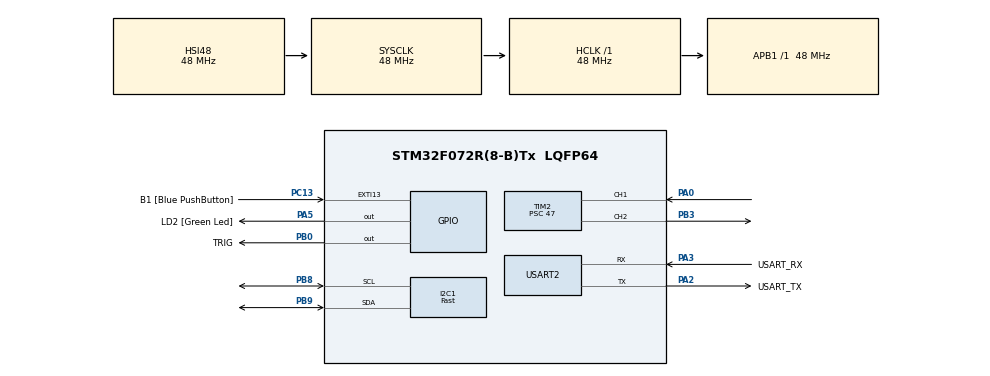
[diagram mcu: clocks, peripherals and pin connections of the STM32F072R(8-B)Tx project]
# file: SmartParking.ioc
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I2C1.I2C_Speed_Mode=I2C_Fast
I2C1.Timing=0x0010020A
Mcu.Family=STM32F0
Mcu.Name=STM32F072R(8-B)Tx
Mcu.Package=LQFP64
PA0.Signal=S_TIM2_CH1_ETR
PA13.GPIO_Label=TMS
PA13.Mode=Serial_Wire
PA13.Signal=SYS_SWDIO
PA14.GPIO_Label=TCK
PA14.Mode=Serial_Wire
PA14.Signal=SYS_SWCLK
PA2.GPIO_Label=USART_TX
PA2.GPIO_Mode=GPIO_MODE_AF_PP
PA2.GPIO_PuPd=GPIO_NOPULL
PA2.GPIO_Speed=GPIO_SPEED_FREQ_LOW
PA2.Mode=Asynchronous
PA2.Signal=USART2_TX
PA3.GPIO_Label=USART_RX
PA3.GPIO_Mode=GPIO_MODE_AF_PP
PA3.GPIO_PuPd=GPIO_NOPULL
PA3.GPIO_Speed=GPIO_SPEED_FREQ_LOW
PA3.Mode=Asynchronous
PA3.Signal=USART2_RX
PA5.GPIO_Label=LD2 [Green Led]
PA5.GPIO_Mode=GPIO_MODE_OUTPUT_PP
PA5.GPIO_PuPd=GPIO_NOPULL
PA5.GPIO_Speed=GPIO_SPEED_FREQ_LOW
PA5.Signal=GPIO_Output
PB0.GPIO_Label=TRIG
PB0.Signal=GPIO_Output
PB3.Signal=S_TIM2_CH2
PB8.GPIO_Pu=GPIO_PULLUP
PB8.Mode=I2C
PB8.Signal=I2C1_SCL
PB9.GPIO_Pu=GPIO_PULLUP
PB9.Mode=I2C
PB9.Signal=I2C1_SDA
PC13.GPIO_Label=B1 [Blue PushButton]
PC13.GPIO_ModeDefaultEXTI=GPIO_MODE_IT_FALLING
PC13.Signal=GPXTI13
PC14-OSC32_IN.Mode=LSE-External-Oscillator
PC14-OSC32_IN.Signal=RCC_OSC32_IN
PC15-OSC32_OUT.Mode=LSE-External-Oscillator
PC15-OSC32_OUT.Signal=RCC_OSC32_OUT
PF0-OSC_IN.Mode=HSE-External-Clock-Source
PF0-OSC_IN.Signal=RCC_OSC_IN
PF1-OSC_OUT.Signal=RCC_OSC_OUT
ProjectManager.HeapSize=0x200
ProjectManager.StackSize=0x400
ProjectManager.TargetToolchain=STM32CubeIDE
RCC.AHBFreq_Value=48000000
RCC.APB1Freq_Value=48000000
RCC.APB1TimFreq_Value=48000000
RCC.FLatency-AdvancedSettings=FLASH_LATENCY_1
RCC.HCLKFreq_Value=48000000
RCC.PLLDivider=RCC_PREDIV_DIV2
RCC.PLLMUL=RCC_PLL_MUL12
RCC.PREFETCH_ENABLE-AdvancedSettings=1
RCC.SYSCLKFreq_VALUE=48000000
RCC.SYSCLKSource=RCC_SYSCLKSOURCE_HSI48
SH.S_TIM2_CH1_ETR.0=TIM2_CH1,Input_Capture1_from_TI1
SH.S_TIM2_CH2.0=TIM2_CH2,PWM Generation2 CH2
TIM2.Channel-Input_Capture1_from_TI1=TIM_CHANNEL_1
TIM2.Channel-PWM\ Generation2\ CH2=TIM_CHANNEL_2
TIM2.Period=19999
TIM2.Prescaler=47
TIM2.Pulse-PWM\ Generation2\ CH2=1000
USART2.VirtualMode=VM_ASYNC
USART2.VirtualMode-Asynchronous=VM_ASYNC
VP_TIM2_VS_ClockSourceINT.Mode=Internal
board=NUCLEO-F072RB

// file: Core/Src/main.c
/* USER CODE BEGIN Header */
/**
  ******************************************************************************
  * @file           : main.c
  * @brief          : Main program body
  ******************************************************************************
  * @attention
  *
  * Copyright (c) 2026 STMicroelectronics.
  * All rights reserved.
  *
  * This software is licensed under terms that can be found in the LICENSE file
  * in the root directory of this software component.
  * If no LICENSE file comes with this software, it is provided AS-IS.
  *
  ******************************************************************************
  */
/* USER CODE END Header */
#include "main.h"

/* USER CODE BEGIN Includes */
#include "ssd1306.h"
#include "fonts.h"
#include "barrier.h"
#include "ultrasonic.h"
#include <stdio.h>
#include "display.h"
#include "virtual_clock.h"
#include "parking_manager.h"

/* USER CODE END Includes */

I2C_HandleTypeDef hi2c1;

TIM_HandleTypeDef htim2;

UART_HandleTypeDef huart2;

/* USER CODE BEGIN PV */
Ultrasonic_t hultrasonic;
uint32_t clear_time = 0;
/* USER CODE END PV */

void SystemClock_Config(void);
static void MX_GPIO_Init(void);
static void MX_I2C1_Init(void);
static void MX_USART2_UART_Init(void);
static void MX_TIM2_Init(void);

/* USER CODE BEGIN 0 */
static uint32_t clear_zone_start_time = 0;
static ParkingReceipt_t display_receipt = {0};
static uint8_t next_exit_slot = 1U;
static uint32_t last_btn_press_ms = 0;

/* USER CODE END 0 */

int main(void)
{

  /* MCU Configuration--------------------------------------------------------*/

  /* Reset of all peripherals, Initializes the Flash interface and the Systick. */
  HAL_Init();

  /* Configure the system clock */
  SystemClock_Config();

  /* Initialize all configured peripherals */
  MX_GPIO_Init();
  MX_I2C1_Init();
  MX_USART2_UART_Init();
  MX_TIM2_Init();
  /* USER CODE BEGIN 2 */
 Barrier_Init(&htim2, TIM_CHANNEL_2);
 Ultrasonic_Init(&hultrasonic, &htim2, GPIOB, GPIO_PIN_0, GPIOA, GPIO_PIN_0);
 Display_Init();
 VClock_Init(21, 45);
 Parking_Init();

  /* USER CODE END 2 */

  /* Infinite loop */
  /* USER CODE BEGIN WHILE */
 while (1)
 {
	 VClock_Update();
	     Barrier_Update();
	     Ultrasonic_Update(&hultrasonic);

	     VirtualClock_t now_clock = VClock_GetTime();
	     uint32_t dist = Ultrasonic_GetDistance(&hultrasonic);

	     if (dist > 0 && dist < 15) {
	         clear_zone_start_time = 0;
	         if (Barrier_IsClosed()) {
	             Barrier_StartOpening();
	         }
	     }
	     else {
	         if (!Barrier_IsClosed()) {
	             if (clear_zone_start_time == 0) {
	                 clear_zone_start_time = HAL_GetTick();
	             }
	             else if (HAL_GetTick() - clear_zone_start_time >= 2000) {
	                 Barrier_StartClosing();
	                 clear_zone_start_time = 0;
	             }
	         } else {
	             clear_zone_start_time = 0;
	         }
	     }

	     if (HAL_GPIO_ReadPin(B1_GPIO_Port, B1_Pin) == GPIO_PIN_RESET) {
	         if (HAL_GetTick() - last_btn_press_ms > 300) {
	             last_btn_press_ms = HAL_GetTick();

	             if (!Parking_IsFull()) {
	                 uint32_t new_id = 0;
	                 Parking_VehicleEnter(now_clock.total_minutes, &new_id);
	             } else {

	                 Parking_VehicleExit(next_exit_slot, now_clock.total_minutes, &display_receipt);
	                 next_exit_slot++;
	                 if (next_exit_slot > PARKING_TOTAL_SLOTS) {
	                     next_exit_slot = 1U;
	                 }
	             }
	         }
	     }

	     const ParkingSlot_t *preview_slot = Parking_GetSlotInfo(next_exit_slot);
	     if (preview_slot != NULL && preview_slot->is_occupied) {
	         display_receipt = Parking_CalculateFee(next_exit_slot, now_clock.total_minutes);
	     }

	     Display_Update(dist,
	                    Barrier_IsClosed(),
	                    now_clock,
	                    Parking_GetFreeSlotsCount(),
	                    PARKING_TOTAL_SLOTS,
	                    &display_receipt);

     HAL_Delay(10);
 }

    /* USER CODE END WHILE */

}

void SystemClock_Config(void)
{
  RCC_OscInitTypeDef RCC_OscInitStruct = {0};
  RCC_ClkInitTypeDef RCC_ClkInitStruct = {0};
  RCC_PeriphCLKInitTypeDef PeriphClkInit = {0};

  /** Initializes the RCC Oscillators according to the specified parameters
  * in the RCC_OscInitTypeDef structure.
  */
  RCC_OscInitStruct.OscillatorType = RCC_OSCILLATORTYPE_HSI|RCC_OSCILLATORTYPE_HSI48;
  RCC_OscInitStruct.HSIState = RCC_HSI_ON;
  RCC_OscInitStruct.HSI48State = RCC_HSI48_ON;
  RCC_OscInitStruct.HSICalibrationValue = RCC_HSICALIBRATION_DEFAULT;
  RCC_OscInitStruct.PLL.PLLState = RCC_PLL_NONE;
  if (HAL_RCC_OscConfig(&RCC_OscInitStruct) != HAL_OK)
  {
    Error_Handler();
  }

  /** Initializes the CPU, AHB and APB buses clocks
  */
  RCC_ClkInitStruct.ClockType = RCC_CLOCKTYPE_HCLK|RCC_CLOCKTYPE_SYSCLK
                              |RCC_CLOCKTYPE_PCLK1;
  RCC_ClkInitStruct.SYSCLKSource = RCC_SYSCLKSOURCE_HSI48;
  RCC_ClkInitStruct.AHBCLKDivider = RCC_SYSCLK_DIV1;
  RCC_ClkInitStruct.APB1CLKDivider = RCC_HCLK_DIV1;

  if (HAL_RCC_ClockConfig(&RCC_ClkInitStruct, FLASH_LATENCY_1) != HAL_OK)
  {
    Error_Handler();
  }
  PeriphClkInit.PeriphClockSelection = RCC_PERIPHCLK_USART2|RCC_PERIPHCLK_I2C1;
  PeriphClkInit.Usart2ClockSelection = RCC_USART2CLKSOURCE_PCLK1;
  PeriphClkInit.I2c1ClockSelection = RCC_I2C1CLKSOURCE_HSI;
  if (HAL_RCCEx_PeriphCLKConfig(&PeriphClkInit) != HAL_OK)
  {
    Error_Handler();
  }
}

static void MX_I2C1_Init(void)
{

  hi2c1.Instance = I2C1;
  hi2c1.Init.Timing = 0x0010020A;
  hi2c1.Init.OwnAddress1 = 0;
  hi2c1.Init.AddressingMode = I2C_ADDRESSINGMODE_7BIT;
  hi2c1.Init.DualAddressMode = I2C_DUALADDRESS_DISABLE;
  hi2c1.Init.OwnAddress2 = 0;
  hi2c1.Init.OwnAddress2Masks = I2C_OA2_NOMASK;
  hi2c1.Init.GeneralCallMode = I2C_GENERALCALL_DISABLE;
  hi2c1.Init.NoStretchMode = I2C_NOSTRETCH_DISABLE;
  if (HAL_I2C_Init(&hi2c1) != HAL_OK)
  {
    Error_Handler();
  }

  /** Configure Analogue filter
  */
  if (HAL_I2CEx_ConfigAnalogFilter(&hi2c1, I2C_ANALOGFILTER_ENABLE) != HAL_OK)
  {
    Error_Handler();
  }

  /** Configure Digital filter
  */
  if (HAL_I2CEx_ConfigDigitalFilter(&hi2c1, 0) != HAL_OK)
  {
    Error_Handler();
  }

}

static void MX_TIM2_Init(void)
{

  TIM_ClockConfigTypeDef sClockSourceConfig = {0};
  TIM_MasterConfigTypeDef sMasterConfig = {0};
  TIM_IC_InitTypeDef sConfigIC = {0};
  TIM_OC_InitTypeDef sConfigOC = {0};

  htim2.Instance = TIM2;
  htim2.Init.Prescaler = 47;
  htim2.Init.CounterMode = TIM_COUNTERMODE_UP;
  htim2.Init.Period = 19999;
  htim2.Init.ClockDivision = TIM_CLOCKDIVISION_DIV1;
  htim2.Init.AutoReloadPreload = TIM_AUTORELOAD_PRELOAD_DISABLE;
  if (HAL_TIM_Base_Init(&htim2) != HAL_OK)
  {
    Error_Handler();
  }
  sClockSourceConfig.ClockSource = TIM_CLOCKSOURCE_INTERNAL;
  if (HAL_TIM_ConfigClockSource(&htim2, &sClockSourceConfig) != HAL_OK)
  {
    Error_Handler();
  }
  if (HAL_TIM_IC_Init(&htim2) != HAL_OK)
  {
    Error_Handler();
  }
  if (HAL_TIM_PWM_Init(&htim2) != HAL_OK)
  {
    Error_Handler();
  }
  sMasterConfig.MasterOutputTrigger = TIM_TRGO_RESET;
  sMasterConfig.MasterSlaveMode = TIM_MASTERSLAVEMODE_DISABLE;
  if (HAL_TIMEx_MasterConfigSynchronization(&htim2, &sMasterConfig) != HAL_OK)
  {
    Error_Handler();
  }
  sConfigIC.ICPolarity = TIM_INPUTCHANNELPOLARITY_RISING;
  sConfigIC.ICSelection = TIM_ICSELECTION_DIRECTTI;
  sConfigIC.ICPrescaler = TIM_ICPSC_DIV1;
  sConfigIC.ICFilter = 0;
  if (HAL_TIM_IC_ConfigChannel(&htim2, &sConfigIC, TIM_CHANNEL_1) != HAL_OK)
  {
    Error_Handler();
  }
  sConfigOC.OCMode = TIM_OCMODE_PWM1;
  sConfigOC.Pulse = 1000;
  sConfigOC.OCPolarity = TIM_OCPOLARITY_HIGH;
  sConfigOC.OCFastMode = TIM_OCFAST_DISABLE;
  if (HAL_TIM_PWM_ConfigChannel(&htim2, &sConfigOC, TIM_CHANNEL_2) != HAL_OK)
  {
    Error_Handler();
  }
  HAL_TIM_MspPostInit(&htim2);

}

static void MX_USART2_UART_Init(void)
{

  huart2.Instance = USART2;
  huart2.Init.BaudRate = 38400;
  huart2.Init.WordLength = UART_WORDLENGTH_8B;
  huart2.Init.StopBits = UART_STOPBITS_1;
  huart2.Init.Parity = UART_PARITY_NONE;
  huart2.Init.Mode = UART_MODE_TX_RX;
  huart2.Init.HwFlowCtl = UART_HWCONTROL_NONE;
  huart2.Init.OverSampling = UART_OVERSAMPLING_16;
  huart2.Init.OneBitSampling = UART_ONE_BIT_SAMPLE_DISABLE;
  huart2.AdvancedInit.AdvFeatureInit = UART_ADVFEATURE_NO_INIT;
  if (HAL_UART_Init(&huart2) != HAL_OK)
  {
    Error_Handler();
  }

}

static void MX_GPIO_Init(void)
{
  GPIO_InitTypeDef GPIO_InitStruct = {0};

  /* GPIO Ports Clock Enable */
  __HAL_RCC_GPIOC_CLK_ENABLE();
  __HAL_RCC_GPIOF_CLK_ENABLE();
  __HAL_RCC_GPIOA_CLK_ENABLE();
  __HAL_RCC_GPIOB_CLK_ENABLE();

  /*Configure GPIO pin Output Level */
  HAL_GPIO_WritePin(LD2_GPIO_Port, LD2_Pin, GPIO_PIN_RESET);

  /*Configure GPIO pin Output Level */
  HAL_GPIO_WritePin(TRIG_GPIO_Port, TRIG_Pin, GPIO_PIN_RESET);

  /*Configure GPIO pin : B1_Pin */
  GPIO_InitStruct.Pin = B1_Pin;
  GPIO_InitStruct.Mode = GPIO_MODE_IT_FALLING;
  GPIO_InitStruct.Pull = GPIO_NOPULL;
  HAL_GPIO_Init(B1_GPIO_Port, &GPIO_InitStruct);

  /*Configure GPIO pin : LD2_Pin */
  GPIO_InitStruct.Pin = LD2_Pin;
  GPIO_InitStruct.Mode = GPIO_MODE_OUTPUT_PP;
  GPIO_InitStruct.Pull = GPIO_NOPULL;
  GPIO_InitStruct.Speed = GPIO_SPEED_FREQ_LOW;
  HAL_GPIO_Init(LD2_GPIO_Port, &GPIO_InitStruct);

  /*Configure GPIO pin : TRIG_Pin */
  GPIO_InitStruct.Pin = TRIG_Pin;
  GPIO_InitStruct.Mode = GPIO_MODE_OUTPUT_PP;
  GPIO_InitStruct.Pull = GPIO_NOPULL;
  GPIO_InitStruct.Speed = GPIO_SPEED_FREQ_LOW;
  HAL_GPIO_Init(TRIG_GPIO_Port, &GPIO_InitStruct);

}

void Error_Handler(void)
{
  __disable_irq();
  while (1)
  {
  }
}
